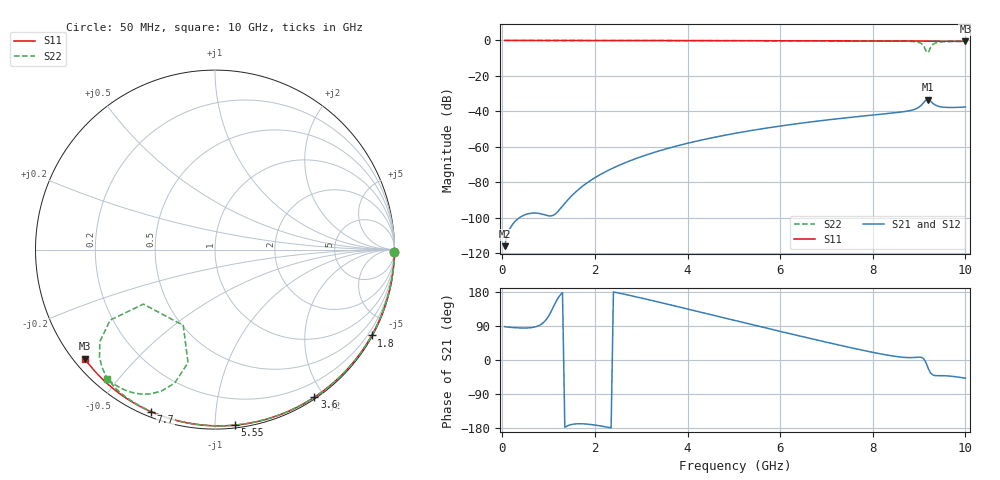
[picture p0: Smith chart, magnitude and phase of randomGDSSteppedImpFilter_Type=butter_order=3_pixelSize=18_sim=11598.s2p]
! freq	dB(S11)	phase(S11)	dB(S12)	phase(S12)
!  dB(S21)	phase(S21)	dB(S22)	phase(S22)
!S-par simulation data
#  GHz  S  DB  R 50
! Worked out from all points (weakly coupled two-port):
!   200 points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, 50 MHz to 10 GHz, reference 50 ohm
!   highest |S21| = -33.33 dB at 9.2 GHz (marker M1); lowest = -116.1 dB at 50 MHz (marker M2)
!   lowest |S11| = -0.5 dB at 10 GHz (marker M3), VSWR 36.65, Z = 1.54 - j18.2 ohm
!   |S11| at or under -10 dB: nowhere
!   |S22| runs from -6.8 to 0.0 dB; largest |S21 - S12| = 0
!   S11 on the Smith chart (normalised r, x): 50 MHz: open; 1.8 GHz: 0.03, -3.91; 3.6 GHz: 0.02, -1.88; 5.55 GHz: 0.02, -1.12; 7.7 GHz: 0.02, -0.68; 10 GHz: 0.03, -0.36
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0.05  -0.00 -0.8  -116.11 88.0  -116.11 88.0  -0.00 -0.8
1.75  -0.04 -27.9  -81.92 -168.5  -81.92 -168.5  -0.03 -26.7
1.8  -0.04 -28.7  -80.94 -168.9  -80.94 -168.9  -0.03 -27.5
2.55  -0.05 -40.3  -70.13 175.8  -70.13 175.8  -0.05 -38.6
3.4  -0.07 -53.1  -62.23 152.2  -62.23 152.2  -0.07 -50.9
3.6  -0.08 -56.0  -60.73 146.4  -60.73 146.4  -0.07 -53.7
5.05  -0.12 -76.8  -52.31 103.5  -52.31 103.5  -0.11 -73.8
5.55  -0.14 -83.6  -50.09 88.7  -50.09 88.7  -0.13 -80.4
6.7  -0.19 -98.9  -45.86 55.4  -45.86 55.4  -0.18 -95.4
7.7  -0.26 -111.6  -42.90 27.8  -42.90 27.8  -0.25 -108.5
8.35  -0.31 -119.7  -41.17 12.1  -41.17 12.1  -0.32 -117.8
8.85  -0.35 -125.9  -39.31 6.3  -39.31 6.3  -0.56 -129.1
8.95  -0.36 -127.1  -38.38 7.2  -38.38 7.2  -0.82 -133.7
9.05  -0.37 -128.4  -36.52 7.1  -36.52 7.1  -1.70 -141.3
9.1  -0.38 -129.0  -35.04 3.3  -35.04 3.3  -3.04 -146.1
9.15  -0.38 -129.6  -33.59 -7.2  -33.59 -7.2  -5.99 -142.7
9.2  -0.38 -130.2  -33.33 -23.1  -33.33 -23.1  -6.79 -112.8
9.25  -0.39 -130.8  -34.36 -34.8  -34.36 -34.8  -3.77 -103.4
9.3  -0.39 -131.4  -35.56 -39.8  -35.56 -39.8  -2.18 -106.8
9.35  -0.40 -132.0  -36.44 -41.2  -36.44 -41.2  -1.47 -110.8
9.55  -0.42 -134.5  -37.73 -41.6  -37.73 -41.6  -0.72 -120.2
10  -0.47 -140.0  -37.57 -48.1  -37.57 -48.1  -0.55 -129.7
